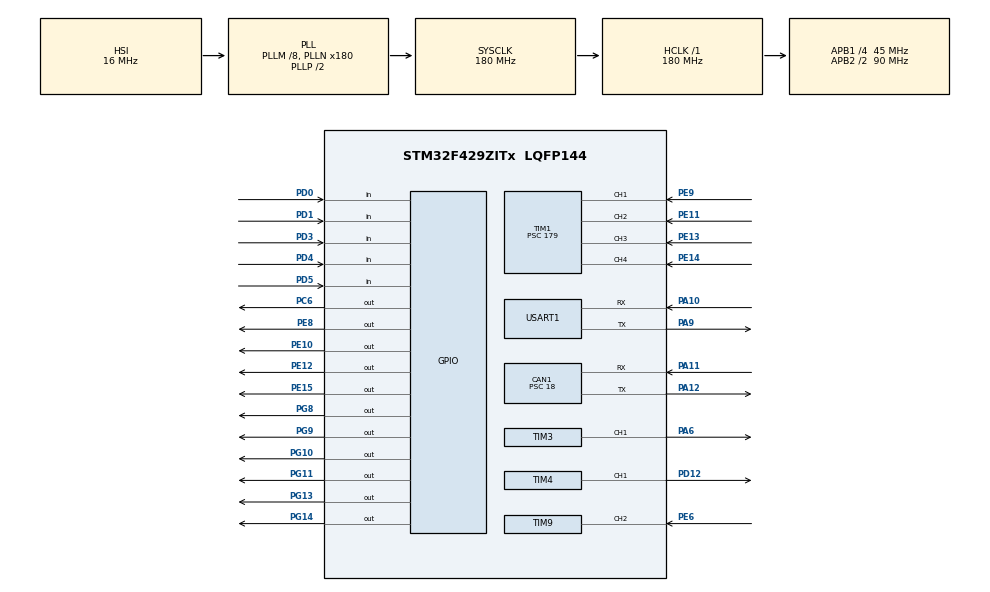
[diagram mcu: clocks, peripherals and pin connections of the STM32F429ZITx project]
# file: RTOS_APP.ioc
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CAN1.BS1=CAN_BS1_2TQ
CAN1.BS2=CAN_BS2_2TQ
CAN1.CalculateBaudRate=500000
CAN1.CalculateTimeBit=2000
CAN1.CalculateTimeQuantum=400.0
CAN1.Prescaler=18
CAN1.SJW=CAN_SJW_1TQ
FREERTOS.Tasks01=defaultTask,24,128,StartDefaultTask,Default,NULL,Dynamic,NULL,NULL;adaptive,40,128,Adaptive,Default,NULL,Dynamic,NULL,NULL;Blindspot,40,128,BlindSpot,Default,NULL,Dynamic,NULL,NULL;Autopark,40,128,AutoPark,Default,NULL,Dynamic,NULL,NULL;can_msg,37,128,CAN_MSG,Default,NULL,Dynamic,NULL,NULL
Mcu.Family=STM32F4
Mcu.Name=STM32F429ZITx
Mcu.Package=LQFP144
NVIC.PriorityGroup=NVIC_PRIORITYGROUP_4
NVIC.TIM1_BRK_TIM9_IRQn=true\:5\:0\:false\:false\:true\:true\:true\:true\:true
NVIC.TIM1_CC_IRQn=true\:5\:0\:false\:false\:true\:true\:true\:true\:true
NVIC.TIM5_IRQn=true\:15\:0\:false\:false\:true\:false\:false\:true\:true
NVIC.TimeBase=TIM5_IRQn
NVIC.TimeBaseIP=TIM5
NVIC.USART1_IRQn=true\:5\:0\:false\:false\:true\:true\:true\:true\:true
PA10.Mode=Asynchronous
PA10.Signal=USART1_RX
PA11.Mode=CAN_Activate
PA11.Signal=CAN1_RX
PA12.Mode=CAN_Activate
PA12.Signal=CAN1_TX
PA6.Signal=S_TIM3_CH1
PA9.Mode=Asynchronous
PA9.Signal=USART1_TX
PC6.Signal=GPIO_Output
PD0.Signal=GPIO_Input
PD1.Signal=GPIO_Input
PD12.Signal=S_TIM4_CH1
PD3.Signal=GPIO_Input
PD4.Signal=GPIO_Input
PD5.Signal=GPIO_Input
PE10.Signal=GPIO_Output
PE11.Signal=S_TIM1_CH2
PE12.Signal=GPIO_Output
PE13.Signal=S_TIM1_CH3
PE14.Signal=S_TIM1_CH4
PE15.Signal=GPIO_Output
PE6.Signal=S_TIM9_CH2
PE8.Signal=GPIO_Output
PE9.Signal=S_TIM1_CH1
PG10.Signal=GPIO_Output
PG11.Signal=GPIO_Output
PG13.Signal=GPIO_Output
PG14.Signal=GPIO_Output
PG8.Signal=GPIO_Output
PG9.Signal=GPIO_Output
ProjectManager.HeapSize=0x200
ProjectManager.StackSize=0x400
ProjectManager.TargetToolchain=STM32CubeIDE
RCC.48MHZClocksFreq_Value=90000000
RCC.AHBFreq_Value=180000000
RCC.APB1CLKDivider=RCC_HCLK_DIV4
RCC.APB1Freq_Value=45000000
RCC.APB1TimFreq_Value=90000000
RCC.APB2CLKDivider=RCC_HCLK_DIV2
RCC.APB2Freq_Value=90000000
RCC.APB2TimFreq_Value=180000000
RCC.CortexFreq_Value=180000000
RCC.HCLKFreq_Value=180000000
RCC.HSE_VALUE=25000000
RCC.HSI_VALUE=16000000
RCC.LSE_VALUE=32768
RCC.PLLM=8
RCC.PLLN=180
RCC.SYSCLKFreq_VALUE=180000000
RCC.SYSCLKSource=RCC_SYSCLKSOURCE_PLLCLK
RCC.VCOOutputFreq_Value=360000000
SH.S_TIM1_CH1.0=TIM1_CH1,Input_Capture1_from_TI1
SH.S_TIM1_CH2.0=TIM1_CH2,Input_Capture2_from_TI2
SH.S_TIM1_CH3.0=TIM1_CH3,Input_Capture3_from_TI3
SH.S_TIM1_CH4.0=TIM1_CH4,Input_Capture4_from_TI4
SH.S_TIM3_CH1.0=TIM3_CH1,PWM Generation1 CH1
SH.S_TIM4_CH1.0=TIM4_CH1,PWM Generation1 CH1
SH.S_TIM9_CH2.0=TIM9_CH2,Input_Capture2_from_TI2
TIM1.Channel-Input_Capture1_from_TI1=TIM_CHANNEL_1
TIM1.Channel-Input_Capture2_from_TI2=TIM_CHANNEL_2
TIM1.Channel-Input_Capture3_from_TI3=TIM_CHANNEL_3
TIM1.Channel-Input_Capture4_from_TI4=TIM_CHANNEL_4
TIM1.Prescaler=179
TIM3.Channel-PWM\ Generation1\ CH1=TIM_CHANNEL_1
TIM3.Period=100
TIM3.Prescaler=1600
TIM3.Pulse-PWM\ Generation1\ CH1=50
TIM4.Channel-PWM\ Generation1\ CH1=TIM_CHANNEL_1
TIM4.Period=100
TIM4.Prescaler=1600
TIM4.Pulse-PWM\ Generation1\ CH1=50
TIM9.AutoReloadPreload=TIM_AUTORELOAD_PRELOAD_ENABLE
TIM9.Channel-Input_Capture2_from_TI2=TIM_CHANNEL_2
TIM9.Prescaler=179
USART1.VirtualMode=VM_ASYNC
VP_FREERTOS_VS_CMSIS_V2.Mode=CMSIS_V2
VP_SYS_VS_tim5.Mode=TIM5
VP_TIM1_VS_ClockSourceINT.Mode=Internal
VP_TIM3_VS_ClockSourceINT.Mode=Internal
VP_TIM4_VS_ClockSourceINT.Mode=Internal
VP_TIM9_VS_ClockSourceINT.Mode=Internal
board=custom

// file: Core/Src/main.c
/* USER CODE BEGIN Header */
/**
 ******************************************************************************
 * @file           : main.c
 * @brief          : Main program body
 ******************************************************************************
 * @attention
 *
 * Copyright (c) 2023 STMicroelectronics.
 * All rights reserved.
 *
 * This software is licensed under terms that can be found in the LICENSE file
 * in the root directory of this software component.
 * If no LICENSE file comes with this software, it is provided AS-IS.
 *
 ******************************************************************************
 */
/* USER CODE END Header */
#include "main.h"
#include "cmsis_os.h"

/* USER CODE BEGIN Includes */
#include <string.h>
#include "Blind_Spot.h"
#include "UltraSonic.h"
#include "Motor_Interfce.h"
#include "lane_detection.h"
#include "ota_update.h"
#include <stdio.h>

/* USER CODE END Includes */

/* USER CODE BEGIN PD */
// Define semaphores

/* USER CODE END PD */

/* USER CODE BEGIN PM */
#define MIN_DISTANCE_TO_BE_IN_PARKING_LANE			25

/* USER CODE END PM */

CAN_HandleTypeDef hcan1;

TIM_HandleTypeDef htim1;
TIM_HandleTypeDef htim3;
TIM_HandleTypeDef htim4;
TIM_HandleTypeDef htim9;

UART_HandleTypeDef huart1;

/* Definitions for defaultTask */
osThreadId_t defaultTaskHandle;
const osThreadAttr_t defaultTask_attributes = { .name = "defaultTask",
		.stack_size = 128 * 4, .priority = (osPriority_t) osPriorityNormal, };
/* Definitions for adaptive */
osThreadId_t adaptiveHandle;
const osThreadAttr_t adaptive_attributes = { .name = "adaptive", .stack_size =
		128 * 4, .priority = (osPriority_t) osPriorityHigh, };
/* Definitions for Blindspot */
osThreadId_t BlindspotHandle;
const osThreadAttr_t Blindspot_attributes = { .name = "Blindspot", .stack_size =
		128 * 4, .priority = (osPriority_t) osPriorityHigh, };
/* Definitions for Autopark */
osThreadId_t AutoparkHandle;
const osThreadAttr_t Autopark_attributes = { .name = "Autopark", .stack_size =
		128 * 4, .priority = (osPriority_t) osPriorityHigh, };
/* Definitions for can_msg */
osThreadId_t can_msgHandle;
const osThreadAttr_t can_msg_attributes = { .name = "can_msg", .stack_size = 128
		* 4, .priority = (osPriority_t) osPriorityAboveNormal5, };
/* USER CODE BEGIN PV */
CAN_RxHeaderTypeDef RxHeader;
CAN_TxHeaderTypeDef TxHeader;
uint32_t TxMailbox;
uint8_t RxData[8];
uint8_t TxData[8];
/* USER CODE END PV */

void SystemClock_Config(void);
static void MX_GPIO_Init(void);
static void MX_USART1_UART_Init(void);
static void MX_TIM1_Init(void);
static void MX_TIM3_Init(void);
static void MX_TIM4_Init(void);
static void MX_TIM9_Init(void);
static void MX_CAN1_Init(void);
void StartDefaultTask(void *argument);
void Adaptive(void *argument);
void BlindSpot(void *argument);
void AutoPark(void *argument);
void CAN_MSG(void *argument);

/* USER CODE BEGIN PFP */
volatile uint8_t task_flag ;
/* USER CODE END PFP */

/* USER CODE BEGIN 0 */
uint8_t Rx_data[10];  //  creating a buffer of 10 bytes

void HAL_UART_RxCpltCallback(UART_HandleTypeDef *huart) {
	// Give the semaphore to enable BlindSpot and Adaptive tasks
	if (Rx_data[0] == 'a') {
		task_flag = 'a';
	} else if (Rx_data[0] == 'b') {
		task_flag = 'b';
	}
	HAL_UART_Receive_IT(&huart1, Rx_data, 1);
}
/* USER CODE END 0 */

int main(void) {

	/* MCU Configuration--------------------------------------------------------*/

	/* Reset of all peripherals, Initializes the Flash interface and the Systick. */
	HAL_Init();

	/* USER CODE BEGIN Init */
	DWT_Delay_Init();
	/* USER CODE END Init */

	/* Configure the system clock */
	SystemClock_Config();

	/* Initialize all configured peripherals */
	MX_GPIO_Init();
	MX_USART1_UART_Init();
	MX_TIM1_Init();
	MX_TIM3_Init();
	MX_TIM4_Init();
	MX_TIM9_Init();
	MX_CAN1_Init();
	/* USER CODE BEGIN 2 */
	HAL_UART_Receive_IT(&huart1, Rx_data, 1);
	HAL_TIM_Base_Start_IT(&htim1);
	HAL_TIM_IC_Start_IT(&htim1, TIM_CHANNEL_1);
	HAL_TIM_IC_Start_IT(&htim9, TIM_CHANNEL_2);
	HAL_TIM_IC_Start_IT(&htim1, TIM_CHANNEL_3);
	HAL_TIM_IC_Start_IT(&htim1, TIM_CHANNEL_4);
	HAL_TIM_PWM_Start(&htim3, TIM_CHANNEL_1);
	HAL_TIM_PWM_Start(&htim4, TIM_CHANNEL_1);
	HAL_CAN_Start(&hcan1);

	/* USER CODE END 2 */

	/* Init scheduler */
	osKernelInitialize();

	/* Create the thread(s) */
	/* creation of defaultTask */
	defaultTaskHandle = osThreadNew(StartDefaultTask, NULL,
			&defaultTask_attributes);

	/* creation of adaptive */
	adaptiveHandle = osThreadNew(Adaptive, NULL, &adaptive_attributes);
	osThreadSuspend(adaptiveHandle);

	/* creation of Blindspot */
	BlindspotHandle = osThreadNew(BlindSpot, NULL, &Blindspot_attributes);
	osThreadSuspend(BlindspotHandle);

	/* creation of Autopark */
	AutoparkHandle = osThreadNew(AutoPark, NULL, &Autopark_attributes);
	osThreadSuspend(AutoparkHandle);

	/* creation of can_msg */
	can_msgHandle = osThreadNew(CAN_MSG, NULL, &can_msg_attributes);

	/* Start scheduler */
	osKernelStart();

	/* We should never get here as control is now taken by the scheduler */
	/* Infinite loop */
	while (1) {

	}
}

void SystemClock_Config(void) {
	RCC_OscInitTypeDef RCC_OscInitStruct = { 0 };
	RCC_ClkInitTypeDef RCC_ClkInitStruct = { 0 };

	/** Configure the main internal regulator output voltage
	 */
	__HAL_RCC_PWR_CLK_ENABLE();
	__HAL_PWR_VOLTAGESCALING_CONFIG(PWR_REGULATOR_VOLTAGE_SCALE1);

	/** Initializes the RCC Oscillators according to the specified parameters
	 * in the RCC_OscInitTypeDef structure.
	 */
	RCC_OscInitStruct.OscillatorType = RCC_OSCILLATORTYPE_HSI;
	RCC_OscInitStruct.HSIState = RCC_HSI_ON;
	RCC_OscInitStruct.HSICalibrationValue = RCC_HSICALIBRATION_DEFAULT;
	RCC_OscInitStruct.PLL.PLLState = RCC_PLL_ON;
	RCC_OscInitStruct.PLL.PLLSource = RCC_PLLSOURCE_HSI;
	RCC_OscInitStruct.PLL.PLLM = 8;
	RCC_OscInitStruct.PLL.PLLN = 180;
	RCC_OscInitStruct.PLL.PLLP = RCC_PLLP_DIV2;
	RCC_OscInitStruct.PLL.PLLQ = 4;
	if (HAL_RCC_OscConfig(&RCC_OscInitStruct) != HAL_OK) {
		Error_Handler();
	}

	/** Activate the Over-Drive mode
	 */
	if (HAL_PWREx_EnableOverDrive() != HAL_OK) {
		Error_Handler();
	}

	/** Initializes the CPU, AHB and APB buses clocks
	 */
	RCC_ClkInitStruct.ClockType = RCC_CLOCKTYPE_HCLK | RCC_CLOCKTYPE_SYSCLK
			| RCC_CLOCKTYPE_PCLK1 | RCC_CLOCKTYPE_PCLK2;
	RCC_ClkInitStruct.SYSCLKSource = RCC_SYSCLKSOURCE_PLLCLK;
	RCC_ClkInitStruct.AHBCLKDivider = RCC_SYSCLK_DIV1;
	RCC_ClkInitStruct.APB1CLKDivider = RCC_HCLK_DIV4;
	RCC_ClkInitStruct.APB2CLKDivider = RCC_HCLK_DIV2;

	if (HAL_RCC_ClockConfig(&RCC_ClkInitStruct, FLASH_LATENCY_5) != HAL_OK) {
		Error_Handler();
	}
}

static void MX_CAN1_Init(void) {

	hcan1.Instance = CAN1;
	hcan1.Init.Prescaler = 18;
	hcan1.Init.Mode = CAN_MODE_NORMAL;
	hcan1.Init.SyncJumpWidth = CAN_SJW_1TQ;
	hcan1.Init.TimeSeg1 = CAN_BS1_2TQ;
	hcan1.Init.TimeSeg2 = CAN_BS2_2TQ;
	hcan1.Init.TimeTriggeredMode = DISABLE;
	hcan1.Init.AutoBusOff = DISABLE;
	hcan1.Init.AutoWakeUp = DISABLE;
	hcan1.Init.AutoRetransmission = DISABLE;
	hcan1.Init.ReceiveFifoLocked = DISABLE;
	hcan1.Init.TransmitFifoPriority = DISABLE;
	if (HAL_CAN_Init(&hcan1) != HAL_OK) {
		Error_Handler();
	}
	/* USER CODE BEGIN CAN1_Init 2 */

	CAN_FilterTypeDef canfilterconfig;

	canfilterconfig.FilterActivation = CAN_FILTER_ENABLE;
	canfilterconfig.FilterBank = 18;
	canfilterconfig.FilterFIFOAssignment = CAN_RX_FIFO0;
	canfilterconfig.FilterIdHigh = 0;
	canfilterconfig.FilterIdLow = 0x0000;
	canfilterconfig.FilterMaskIdHigh = 0x000;
	canfilterconfig.FilterMaskIdLow = 0x0000;
	canfilterconfig.FilterMode = CAN_FILTERMODE_IDMASK;
	canfilterconfig.FilterScale = CAN_FILTERSCALE_32BIT;
	canfilterconfig.SlaveStartFilterBank = 20;

	HAL_CAN_ConfigFilter(&hcan1, &canfilterconfig);

	/* USER CODE END CAN1_Init 2 */

}

static void MX_TIM1_Init(void) {

	TIM_ClockConfigTypeDef sClockSourceConfig = { 0 };
	TIM_MasterConfigTypeDef sMasterConfig = { 0 };
	TIM_IC_InitTypeDef sConfigIC = { 0 };

	htim1.Instance = TIM1;
	htim1.Init.Prescaler = 179;
	htim1.Init.CounterMode = TIM_COUNTERMODE_UP;
	htim1.Init.Period = 65535;
	htim1.Init.ClockDivision = TIM_CLOCKDIVISION_DIV1;
	htim1.Init.RepetitionCounter = 0;
	htim1.Init.AutoReloadPreload = TIM_AUTORELOAD_PRELOAD_DISABLE;
	if (HAL_TIM_Base_Init(&htim1) != HAL_OK) {
		Error_Handler();
	}
	sClockSourceConfig.ClockSource = TIM_CLOCKSOURCE_INTERNAL;
	if (HAL_TIM_ConfigClockSource(&htim1, &sClockSourceConfig) != HAL_OK) {
		Error_Handler();
	}
	if (HAL_TIM_IC_Init(&htim1) != HAL_OK) {
		Error_Handler();
	}
	sMasterConfig.MasterOutputTrigger = TIM_TRGO_RESET;
	sMasterConfig.MasterSlaveMode = TIM_MASTERSLAVEMODE_DISABLE;
	if (HAL_TIMEx_MasterConfigSynchronization(&htim1, &sMasterConfig)
			!= HAL_OK) {
		Error_Handler();
	}
	sConfigIC.ICPolarity = TIM_INPUTCHANNELPOLARITY_RISING;
	sConfigIC.ICSelection = TIM_ICSELECTION_DIRECTTI;
	sConfigIC.ICPrescaler = TIM_ICPSC_DIV1;
	sConfigIC.ICFilter = 0;
	if (HAL_TIM_IC_ConfigChannel(&htim1, &sConfigIC, TIM_CHANNEL_1) != HAL_OK) {
		Error_Handler();
	}
	if (HAL_TIM_IC_ConfigChannel(&htim1, &sConfigIC, TIM_CHANNEL_2) != HAL_OK) {
		Error_Handler();
	}
	if (HAL_TIM_IC_ConfigChannel(&htim1, &sConfigIC, TIM_CHANNEL_3) != HAL_OK) {
		Error_Handler();
	}
	if (HAL_TIM_IC_ConfigChannel(&htim1, &sConfigIC, TIM_CHANNEL_4) != HAL_OK) {
		Error_Handler();
	}

}

static void MX_TIM3_Init(void) {

	TIM_ClockConfigTypeDef sClockSourceConfig = { 0 };
	TIM_MasterConfigTypeDef sMasterConfig = { 0 };
	TIM_OC_InitTypeDef sConfigOC = { 0 };

	htim3.Instance = TIM3;
	htim3.Init.Prescaler = 1600;
	htim3.Init.CounterMode = TIM_COUNTERMODE_UP;
	htim3.Init.Period = 100;
	htim3.Init.ClockDivision = TIM_CLOCKDIVISION_DIV1;
	htim3.Init.AutoReloadPreload = TIM_AUTORELOAD_PRELOAD_DISABLE;
	if (HAL_TIM_Base_Init(&htim3) != HAL_OK) {
		Error_Handler();
	}
	sClockSourceConfig.ClockSource = TIM_CLOCKSOURCE_INTERNAL;
	if (HAL_TIM_ConfigClockSource(&htim3, &sClockSourceConfig) != HAL_OK) {
		Error_Handler();
	}
	if (HAL_TIM_PWM_Init(&htim3) != HAL_OK) {
		Error_Handler();
	}
	sMasterConfig.MasterOutputTrigger = TIM_TRGO_RESET;
	sMasterConfig.MasterSlaveMode = TIM_MASTERSLAVEMODE_DISABLE;
	if (HAL_TIMEx_MasterConfigSynchronization(&htim3, &sMasterConfig)
			!= HAL_OK) {
		Error_Handler();
	}
	sConfigOC.OCMode = TIM_OCMODE_PWM1;
	sConfigOC.Pulse = 50;
	sConfigOC.OCPolarity = TIM_OCPOLARITY_HIGH;
	sConfigOC.OCFastMode = TIM_OCFAST_DISABLE;
	if (HAL_TIM_PWM_ConfigChannel(&htim3, &sConfigOC, TIM_CHANNEL_1)
			!= HAL_OK) {
		Error_Handler();
	}
	HAL_TIM_MspPostInit(&htim3);

}

static void MX_TIM4_Init(void) {

	TIM_ClockConfigTypeDef sClockSourceConfig = { 0 };
	TIM_MasterConfigTypeDef sMasterConfig = { 0 };
	TIM_OC_InitTypeDef sConfigOC = { 0 };

	htim4.Instance = TIM4;
	htim4.Init.Prescaler = 1600;
	htim4.Init.CounterMode = TIM_COUNTERMODE_UP;
	htim4.Init.Period = 100;
	htim4.Init.ClockDivision = TIM_CLOCKDIVISION_DIV1;
	htim4.Init.AutoReloadPreload = TIM_AUTORELOAD_PRELOAD_DISABLE;
	if (HAL_TIM_Base_Init(&htim4) != HAL_OK) {
		Error_Handler();
	}
	sClockSourceConfig.ClockSource = TIM_CLOCKSOURCE_INTERNAL;
	if (HAL_TIM_ConfigClockSource(&htim4, &sClockSourceConfig) != HAL_OK) {
		Error_Handler();
	}
	if (HAL_TIM_PWM_Init(&htim4) != HAL_OK) {
		Error_Handler();
	}
	sMasterConfig.MasterOutputTrigger = TIM_TRGO_RESET;
	sMasterConfig.MasterSlaveMode = TIM_MASTERSLAVEMODE_DISABLE;
	if (HAL_TIMEx_MasterConfigSynchronization(&htim4, &sMasterConfig)
			!= HAL_OK) {
		Error_Handler();
	}
	sConfigOC.OCMode = TIM_OCMODE_PWM1;
	sConfigOC.Pulse = 50;
	sConfigOC.OCPolarity = TIM_OCPOLARITY_HIGH;
	sConfigOC.OCFastMode = TIM_OCFAST_DISABLE;
	if (HAL_TIM_PWM_ConfigChannel(&htim4, &sConfigOC, TIM_CHANNEL_1)
			!= HAL_OK) {
		Error_Handler();
	}
	HAL_TIM_MspPostInit(&htim4);

}

static void MX_TIM9_Init(void) {

	TIM_ClockConfigTypeDef sClockSourceConfig = { 0 };
	TIM_IC_InitTypeDef sConfigIC = { 0 };

	htim9.Instance = TIM9;
	htim9.Init.Prescaler = 179;
	htim9.Init.CounterMode = TIM_COUNTERMODE_UP;
	htim9.Init.Period = 65535;
	htim9.Init.ClockDivision = TIM_CLOCKDIVISION_DIV1;
	htim9.Init.AutoReloadPreload = TIM_AUTORELOAD_PRELOAD_ENABLE;
	if (HAL_TIM_Base_Init(&htim9) != HAL_OK) {
		Error_Handler();
	}
	sClockSourceConfig.ClockSource = TIM_CLOCKSOURCE_INTERNAL;
	if (HAL_TIM_ConfigClockSource(&htim9, &sClockSourceConfig) != HAL_OK) {
		Error_Handler();
	}
	if (HAL_TIM_IC_Init(&htim9) != HAL_OK) {
		Error_Handler();
	}
	sConfigIC.ICPolarity = TIM_INPUTCHANNELPOLARITY_RISING;
	sConfigIC.ICSelection = TIM_ICSELECTION_DIRECTTI;
	sConfigIC.ICPrescaler = TIM_ICPSC_DIV1;
	sConfigIC.ICFilter = 0;
	if (HAL_TIM_IC_ConfigChannel(&htim9, &sConfigIC, TIM_CHANNEL_2) != HAL_OK) {
		Error_Handler();
	}

}

static void MX_USART1_UART_Init(void) {

	huart1.Instance = USART1;
	huart1.Init.BaudRate = 115200;
	huart1.Init.WordLength = UART_WORDLENGTH_8B;
	huart1.Init.StopBits = UART_STOPBITS_1;
	huart1.Init.Parity = UART_PARITY_NONE;
	huart1.Init.Mode = UART_MODE_TX_RX;
	huart1.Init.HwFlowCtl = UART_HWCONTROL_NONE;
	huart1.Init.OverSampling = UART_OVERSAMPLING_16;
	if (HAL_UART_Init(&huart1) != HAL_OK) {
		Error_Handler();
	}

}

static void MX_GPIO_Init(void) {
	GPIO_InitTypeDef GPIO_InitStruct = { 0 };

	/* GPIO Ports Clock Enable */
	__HAL_RCC_GPIOE_CLK_ENABLE();
	__HAL_RCC_GPIOA_CLK_ENABLE();
	__HAL_RCC_GPIOD_CLK_ENABLE();
	__HAL_RCC_GPIOG_CLK_ENABLE();
	__HAL_RCC_GPIOC_CLK_ENABLE();

	/*Configure GPIO pin Output Level */
	HAL_GPIO_WritePin(GPIOE,
	GPIO_PIN_8 | GPIO_PIN_10 | GPIO_PIN_12 | GPIO_PIN_15, GPIO_PIN_RESET);

	/*Configure GPIO pin Output Level */
	HAL_GPIO_WritePin(GPIOG,
			GPIO_PIN_8 | GPIO_PIN_9 | GPIO_PIN_10 | GPIO_PIN_11 | GPIO_PIN_13
					| GPIO_PIN_14, GPIO_PIN_RESET);

	/*Configure GPIO pin Output Level */
	HAL_GPIO_WritePin(GPIOC, GPIO_PIN_6, GPIO_PIN_RESET);

	/*Configure GPIO pins : PE8 PE10 PE12 PE15 */
	GPIO_InitStruct.Pin = GPIO_PIN_8 | GPIO_PIN_10 | GPIO_PIN_12 | GPIO_PIN_15;
	GPIO_InitStruct.Mode = GPIO_MODE_OUTPUT_PP;
	GPIO_InitStruct.Pull = GPIO_NOPULL;
	GPIO_InitStruct.Speed = GPIO_SPEED_FREQ_LOW;
	HAL_GPIO_Init(GPIOE, &GPIO_InitStruct);

	/*Configure GPIO pins : PG8 PG9 PG10 PG11
	 PG13 PG14 */
	GPIO_InitStruct.Pin = GPIO_PIN_8 | GPIO_PIN_9 | GPIO_PIN_10 | GPIO_PIN_11
			| GPIO_PIN_13 | GPIO_PIN_14;
	GPIO_InitStruct.Mode = GPIO_MODE_OUTPUT_PP;
	GPIO_InitStruct.Pull = GPIO_NOPULL;
	GPIO_InitStruct.Speed = GPIO_SPEED_FREQ_LOW;
	HAL_GPIO_Init(GPIOG, &GPIO_InitStruct);

	/*Configure GPIO pin : PC6 */
	GPIO_InitStruct.Pin = GPIO_PIN_6;
	GPIO_InitStruct.Mode = GPIO_MODE_OUTPUT_PP;
	GPIO_InitStruct.Pull = GPIO_NOPULL;
	GPIO_InitStruct.Speed = GPIO_SPEED_FREQ_LOW;
	HAL_GPIO_Init(GPIOC, &GPIO_InitStruct);

	/*Configure GPIO pins : PD0 PD1 PD3 PD4
	 PD5 */
	GPIO_InitStruct.Pin = GPIO_PIN_0 | GPIO_PIN_1 | GPIO_PIN_3 | GPIO_PIN_4
			| GPIO_PIN_5;
	GPIO_InitStruct.Mode = GPIO_MODE_INPUT;
	GPIO_InitStruct.Pull = GPIO_NOPULL;
	HAL_GPIO_Init(GPIOD, &GPIO_InitStruct);

}

/* USER CODE BEGIN 4 */
#ifdef __GNUC__
/* With GCC, small printf (option LD Linker->Libraries->Small printf
 set to 'Yes') calls __io_putchar() */
int __io_putchar(int ch)
#else
int fputc(int ch, FILE *f)
#endif /* __GNUC__ */
{
	/* Place your implementation of fputc here */
	/* e.g. write a character to the UART1 and Loop until the end of transmission */
	HAL_UART_Transmit(&huart1, (uint8_t*) &ch, 1, HAL_MAX_DELAY);
	return ch;
}

/* USER CODE END 4 */

void StartDefaultTask(void *argument) {
	for (;;) {
		osDelay(1);
	}
}

void Adaptive(void *argument) {
	/* USER CODE BEGIN Adaptive */

	char temp2[] = "Adaptive \r\n";

	uint16_t Distances[4] = { 0 }; // Array to store distances from the ultrasonic sensors.

	/* Infinite loop */
	for (;;) {
		HAL_UART_Transmit(&huart1, (uint8_t*) temp2, strlen(temp2), 10);

		if (UltraSonic_ReadStatusENUM_GetRead(ULTRASONIC3, Distances, 1)
				== READ_EXIST) {

			// if distance larger than 15 move forward using lane assist
			if (Distances[0] >= 15) {
				Lane_Runnable();
			}
		    //else if distance samller than
			else if (Distances[0] < 15) {
				if (Distances[0] > 10) {
					Car_Void_GoForward(50);
				} else if (Distances[0] < 10) {
					Car_Void_Stop();
				}
			}

		}

		osDelay(30);

	}
	/* USER CODE END Adaptive */
}

void BlindSpot(void *argument) {
	/* USER CODE BEGIN BlindSpot */
	/* Infinite loop */
	char temp2[] = "BlindSpot \r\n";
	for (;;) {

		HAL_UART_Transmit(&huart1, (uint8_t*) temp2, strlen(temp2), 10);
		if (BlindSpot_Enum_Check(BOTH_SIDES) == OBSTACLE_EXIST) {

		} else {

		}

		osDelay(100);
	}

	/* USER CODE END BlindSpot */
}

void AutoPark(void *argument) {
	/* USER CODE BEGIN AutoPark */
	/* Infinite loop */
	char temp2[] = "AutoPark \r\n";

	char buffer[20];
	uint16_t Distances[4] = { 0 }; // Array to store distances from the ultrasonic sensors.

	for (;;) {
		HAL_UART_Transmit(&huart1, (uint8_t*) temp2, strlen(temp2), 10);

		Car_Void_Stop();

		/*Find Spot*/

		while ((UltraSonic_ReadStatusENUM_GetRead(ULTRASONIC2, Distances, 1))
				!= READ_EXIST)
			;

		// wait till there is no car in left using ultrasonic 2 reading
		while (Distances[0] <= MIN_DISTANCE_TO_BE_IN_PARKING_LANE)

		{
			Car_Void_GoForward(50);
			while ((UltraSonic_ReadStatusENUM_GetRead(ULTRASONIC2, Distances, 1))
					!= READ_EXIST)
				;
		}

		/*Check the spot is going to fit the car*/

		while ((UltraSonic_ReadStatusENUM_GetRead(ULTRASONIC2, Distances, 1))
				!= READ_EXIST)
			;

		while (Distances[0] > 20) {

			Car_Void_GoForward(50);

			while ((UltraSonic_ReadStatusENUM_GetRead(ULTRASONIC2, Distances, 1))
					!= READ_EXIST)
				;
		}

		Car_Void_Stop();

		HAL_Delay(2000);

		/*Start Parking*/

		Car_Void_GoBackward(50);
		HAL_Delay(650);

		Car_Void_TurnRight(0, 80);
		HAL_Delay(1000);
		Car_Void_Stop();

		while ((UltraSonic_ReadStatusENUM_GetRead(ULTRASONIC1_4, Distances, 1))
				!= READ_EXIST)
			;
		while (Distances[0] > 5) {

			Car_Void_GoBackward(50);
			while ((UltraSonic_ReadStatusENUM_GetRead(ULTRASONIC1_4, Distances,
					1)) != READ_EXIST)
				;
		}

		Car_Void_Stop();
		HAL_Delay(1000);
		while ((UltraSonic_ReadStatusENUM_GetRead(ULTRASONIC2, Distances, 1))
						!= READ_EXIST)
					;

		while (Distances[0] > 6) {

					Car_Void_TurnLeft(100, 100);
					while ((UltraSonic_ReadStatusENUM_GetRead(ULTRASONIC2, Distances, 1))
							!= READ_EXIST)
						;
				}

		Car_Void_Stop();

		HAL_Delay(430);

		while ((UltraSonic_ReadStatusENUM_GetRead(ULTRASONIC3, Distances, 1))
				!= READ_EXIST)
			;

		while (Distances[0] > 5) {

			Car_Void_GoForward(40);
			while ((UltraSonic_ReadStatusENUM_GetRead(ULTRASONIC3, Distances, 1))
					!= READ_EXIST)
				;
		}

		Car_Void_Stop();
		HAL_Delay(10000);
		osDelay(35);

	}
	/* USER CODE END AutoPark */
}

void CAN_MSG(void *argument) {
	/* USER CODE BEGIN CAN_MSG */
	/* Infinite loop */
	for (;;) {

		printf("OTA \r\n");
		while (HAL_CAN_GetRxFifoFillLevel(&hcan1, CAN_RX_FIFO0) == 0) {
		};
		HAL_CAN_GetRxMessage(&hcan1, CAN_RX_FIFO0, &RxHeader, RxData);

		uint32_t canID = RxHeader.StdId; // Assuming standard CAN ID, modify as needed

		if (canID == 0x99) {
			// Suspend Task A
			osThreadSuspend(adaptiveHandle);
			osThreadSuspend(BlindspotHandle);
			osThreadResume(AutoparkHandle);
		} else if (canID == 0xA7) {
			// Suspend Task B
			osThreadSuspend(AutoparkHandle);
			osThreadResume(BlindspotHandle);
			osThreadResume(adaptiveHandle);
		} else if (canID == MV_CAR) {
			// Suspend both Task A and Task B
			osThreadSuspend(adaptiveHandle);
			osThreadSuspend(BlindspotHandle);
			osThreadSuspend(AutoparkHandle);
			bootloader_can_read_data();
		} else {
			// Call bootloader_can_read_data()
			bootloader_can_read_data();
		}

	}

	/* USER CODE END CAN_MSG */
}

void HAL_TIM_PeriodElapsedCallback(TIM_HandleTypeDef *htim) {
	/* USER CODE BEGIN Callback 0 */
//
	/* USER CODE END Callback 0 */
	if (htim->Instance == TIM5) {
		HAL_IncTick();
	}
	/* USER CODE BEGIN Callback 1 */
//
	/* USER CODE END Callback 1 */
}

void Error_Handler(void) {
	__disable_irq();
	while (1) {
	}
}
